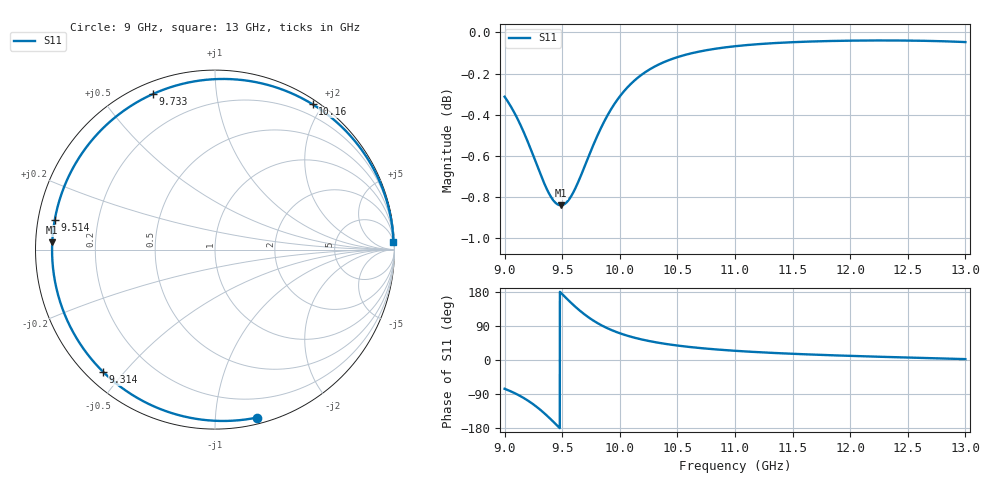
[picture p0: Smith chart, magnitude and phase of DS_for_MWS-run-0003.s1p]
! TOUCHSTONE file generated by CST DESIGN STUDIO
! Date and time: Tue Feb  4 18:46:37 2025
! Project name: C:\Work\MatlabApps\UnitCellOptimizationMatlab\CST\unitcell.cst
! Tree item: Tasks\Sweep1\SPara1\S-Parameters
! Header version: 2024
! Port assignment regex: !\s*Touchstone port\s*([0-9]+)\s*=\s*(CST MWS port|CST DES external port|CST DES block port)\s*(.+)\s* \(\"(.*)\"\)(\s*mode\s*([0-9]+))?.*
! Touchstone port assignment:
! Touchstone port 1 = CST DES external port 1 ("")
# GHz S MA R 50
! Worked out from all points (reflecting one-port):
!   4001 points, 9 GHz to 13 GHz, reference 50 ohm
!   lowest |S11| = -0.8 dB at 9.488 GHz (marker M1), VSWR 20.68, Z = 2.42 + j1.13 ohm
!   phase of S11 starts at -76 deg and turns -282 deg over the sweep
!   S11 on the Smith chart (normalised r, x): 9 GHz: 0.05, -1.28; 9.314 GHz: 0.05, -0.44; 9.514 GHz: 0.05, +0.09; 9.733 GHz: 0.05, +0.68; 10.16 GHz: 0.06, +1.88; 13 GHz: 6, +48
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9  0.9646 -76.0
9.08  0.9566 -86.4
9.179  0.9439 -102.7
9.249  0.9333 -116.9
9.314  0.9233 -132.5
9.36  0.9168 -144.7
9.408  0.9115 -158.4
9.449  0.9087 -170.7
9.488  0.9078 177.4
9.5  0.9079 173.7
9.514  0.9082 169.5
9.567  0.9114 153.7
9.627  0.9181 137.0
9.679  0.9254 123.8
9.733  0.9335 111.6
9.786  0.9412 101.1
9.846  0.9491 90.8
9.922  0.9577 79.8
10  0.9648 70.6
10.164  0.9754 56.0
10.317  0.9815 46.5
10.5  0.9862 38.1
10.722  0.9897 30.8
11  0.9923 24.3
11.5  0.9945 16.4
12  0.9954 10.9
12.5  0.9954 6.5
13  0.9946 2.3
